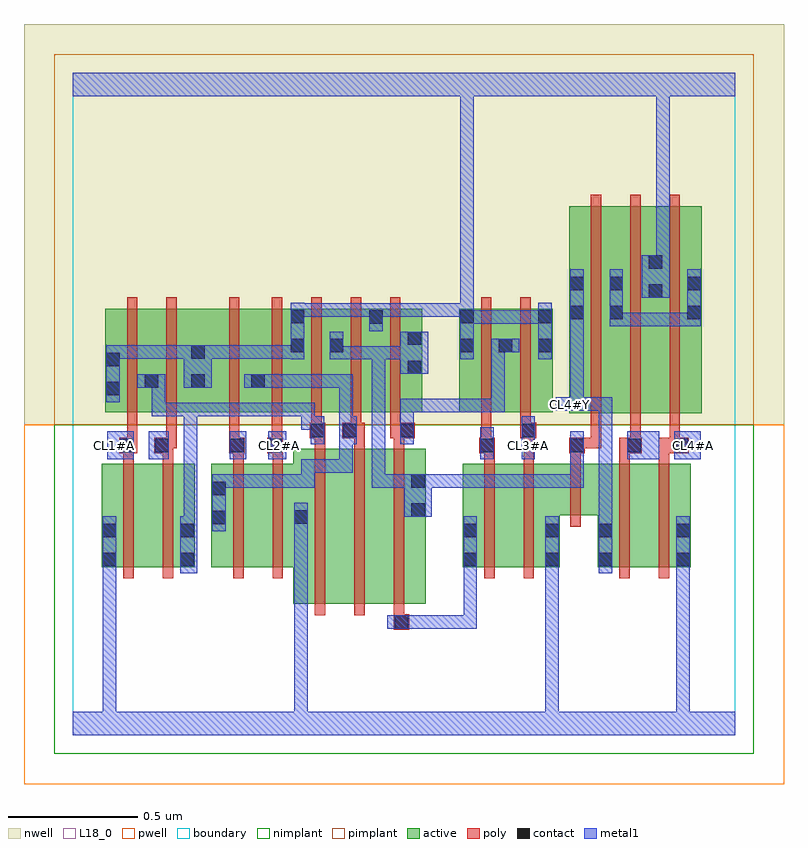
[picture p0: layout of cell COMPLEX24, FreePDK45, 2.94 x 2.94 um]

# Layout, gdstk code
import gdstk
lib = gdstk.Library(unit=1e-6, precision=1e-09)
def R(c, l, rs):  # rectangles x0, y0, x1, y1
    for r in rs: c.add(gdstk.rectangle(r[:2], r[2:], *l))
def A(c, l, x, y, w, h, nx, ny, dx, dy):  # array of equal rectangles
    R(c, l, [(x+i*dx, y+j*dy, x+i*dx+w, y+j*dy+h) for i in range(nx) for j in range(ny)])
active = (1, 0)
pwell = (2, 0)
nwell = (3, 0)
nimplant = (4, 0)
pimplant = (5, 0)
poly = (9, 0)
contact = (10, 0)
metal1 = (11, 0)
L18_0 = (18, 0)
boundary = (235, 0)

complex24 = lib.new_cell('COMPLEX24')
A(complex24, active, 0.686, 1.248, 0.212, 0.4, 3, 1, 0.152, 0)
R(complex24, active, [(0.852,0.508,1.032,1.108), (1.032,0.508,1.184,1.108), (1.184,0.508,1.364,1.108), (1.304,0.556,1.364,1.108), (0.112,0.65,0.172,1.05), (0.112,0.65,0.292,1.05), (0.292,0.65,0.472,1.05), (0.412,0.65,0.472,1.05), (0.536,0.65,0.716,1.05), (0.716,0.65,0.912,1.05), (1.506,0.65,1.566,1.05), (1.506,0.65,1.686,1.05), (1.686,0.65,1.882,1.05), (1.822,0.65,1.882,0.85), (2.028,0.65,2.208,1.05), (2.028,0.65,2.088,0.85), (2.208,0.65,2.388,1.05), (2.328,0.65,2.388,1.05), (0.536,0.756,0.596,1.05), (0.852,0.756,0.912,1.05), (1.822,0.85,2.088,1.05), (1.918,1.244,1.978,2.044), (1.918,1.244,2.13,2.044), (2.07,1.244,2.282,2.044), (2.222,1.244,2.43,2.044), (2.37,1.244,2.43,2.044), (0.126,1.248,0.186,1.644), (0.126,1.248,0.334,1.648), (0.274,1.248,0.334,1.644), (0.274,1.248,0.514,1.648), (0.454,1.248,0.514,1.644), (0.454,1.248,0.746,1.648), (0.686,1.248,0.746,1.644), (0.838,1.248,0.898,1.648), (0.99,1.248,1.05,1.644), (1.142,1.248,1.35,1.648), (1.142,1.248,1.202,1.646), (1.29,1.248,1.35,1.644), (1.494,1.248,1.554,1.648), (1.494,1.248,1.702,1.648), (1.642,1.248,1.854,1.648), (1.642,1.248,1.702,1.644), (1.794,1.248,1.854,1.648), (2.07,1.604,2.13,2.044), (2.222,1.686,2.282,2.044)])
R(complex24, pwell, [(-0.188,-0.188,2.748,1.2)])
R(complex24, nwell, [(-0.188,1.2,2.748,2.748)])
R(complex24, nimplant, [(-0.072,-0.072,2.632,1.2)])
R(complex24, pimplant, [(-0.072,1.2,2.632,2.632)])
A(complex24, poly, 0.936, 0.464, 0.04, 0.688, 3, 1, 0.152, 0)
A(complex24, poly, 2.002, 1.11, 0.04, 0.13, 3, 1, 0.152, 0)
A(complex24, poly, 0.936, 1.112, 0.04, 0.076, 3, 1, 0.152, 0)
A(complex24, poly, 0.922, 1.168, 0.04, 0.076, 3, 1, 0.152, 0)
A(complex24, poly, 2.002, 1.2, 0.04, 0.888, 3, 1, 0.152, 0)
A(complex24, poly, 0.77, 1.204, 0.04, 0.488, 4, 1, 0.152, 0)
R(complex24, poly, [(1.24,0.408,1.3,0.468), (1.24,0.428,1.28,0.504), (0.196,0.606,0.236,1.094), (0.348,0.606,0.388,1.094), (0.62,0.606,0.66,1.094), (0.772,0.606,0.812,1.094), (1.59,0.606,1.63,1.094), (1.742,0.606,1.782,1.094), (2.112,0.606,2.152,1.094), (2.264,0.606,2.304,1.094), (1.922,0.806,1.962,1.094), (0.196,1.054,0.236,1.13), (0.348,1.054,0.388,1.13), (0.62,1.054,0.66,1.13), (0.772,1.054,0.812,1.13), (1.59,1.054,1.63,1.13), (1.742,1.054,1.782,1.188), (1.922,1.054,1.962,1.13), (2.112,1.054,2.152,1.13), (2.264,1.054,2.304,1.13), (0.18,1.09,0.25,1.15), (0.196,1.09,0.236,1.13), (0.196,1.09,0.236,1.13), (0.316,1.09,0.388,1.15), (0.604,1.09,0.664,1.15), (0.752,1.09,0.812,1.15), (1.57,1.09,1.63,1.15), (1.918,1.09,1.978,1.15), (2.112,1.09,2.198,1.15), (2.264,1.09,2.38,1.15), (0.21,1.11,0.25,1.244), (0.348,1.11,0.388,1.15), (0.348,1.11,0.402,1.15), (0.362,1.11,0.402,1.244), (0.604,1.11,0.644,1.15), (0.604,1.11,0.644,1.15), (0.604,1.11,0.644,1.244), (0.77,1.11,0.81,1.15), (0.77,1.11,0.81,1.15), (0.77,1.11,0.81,1.244), (1.578,1.11,1.618,1.15), (1.578,1.11,1.618,1.15), (1.578,1.11,1.618,1.244), (1.938,1.11,1.978,1.15), (1.938,1.11,2.042,1.15), (2.154,1.11,2.194,1.15), (2.154,1.11,2.194,1.15), (2.306,1.11,2.346,1.15), (2.306,1.11,2.346,1.15), (0.916,1.148,0.976,1.208), (0.936,1.148,0.976,1.188), (0.936,1.148,0.976,1.188), (1.042,1.148,1.128,1.208), (1.226,1.148,1.322,1.208), (1.24,1.148,1.28,1.188), (1.24,1.148,1.28,1.188), (1.73,1.148,1.79,1.208), (1.742,1.148,1.782,1.188), (1.742,1.148,1.782,1.188), (1.074,1.168,1.114,1.208), (1.074,1.168,1.114,1.208), (1.73,1.168,1.77,1.244), (0.21,1.204,0.25,1.692), (0.362,1.204,0.402,1.692), (0.604,1.204,0.644,1.692), (1.578,1.204,1.618,1.692), (1.73,1.204,1.77,1.692)])
R(complex24, contact, [(1.244,0.412,1.296,0.464), (0.116,0.654,0.168,0.706), (0.416,0.654,0.468,0.706), (1.51,0.654,1.562,0.706), (1.826,0.654,1.878,0.706), (2.032,0.654,2.084,0.706), (2.332,0.654,2.384,0.706), (0.116,0.766,0.168,0.818), (0.416,0.766,0.468,0.818), (1.51,0.766,1.562,0.818), (1.826,0.766,1.878,0.818), (2.032,0.766,2.084,0.818), (2.332,0.766,2.384,0.818), (0.54,0.816,0.592,0.868), (0.856,0.818,0.908,0.87), (1.308,0.844,1.36,0.896), (0.54,0.928,0.592,0.98), (1.308,0.956,1.36,1.008), (0.184,1.094,0.236,1.146), (0.32,1.094,0.372,1.146), (0.608,1.094,0.66,1.146), (0.756,1.094,0.808,1.146), (1.574,1.094,1.626,1.146), (1.922,1.094,1.974,1.146), (2.142,1.094,2.194,1.146), (2.324,1.094,2.376,1.146), (0.92,1.152,0.972,1.204), (1.046,1.152,1.098,1.204), (1.266,1.152,1.318,1.204), (1.734,1.152,1.786,1.204), (0.13,1.314,0.182,1.366), (0.278,1.342,0.33,1.394), (0.458,1.342,0.51,1.394), (0.69,1.342,0.742,1.394), (1.294,1.396,1.346,1.448), (0.13,1.426,0.182,1.478), (0.458,1.454,0.51,1.506), (0.842,1.48,0.894,1.532), (0.994,1.48,1.046,1.532), (1.498,1.48,1.55,1.532), (1.646,1.48,1.698,1.532), (1.798,1.48,1.85,1.532), (1.294,1.508,1.346,1.56), (1.146,1.59,1.198,1.642), (0.842,1.592,0.894,1.644), (1.498,1.592,1.55,1.644), (1.798,1.592,1.85,1.644), (1.922,1.608,1.974,1.66), (2.074,1.608,2.126,1.66), (2.374,1.608,2.426,1.66), (2.226,1.69,2.278,1.742), (1.922,1.72,1.974,1.772), (2.074,1.72,2.126,1.772), (2.374,1.72,2.426,1.772), (2.226,1.802,2.278,1.854)])
R(complex24, metal1, [(0,0,2.56,0.092), (0.116,0.04,0.168,0.092), (0.116,0.04,0.168,0.092), (0.116,0.04,0.168,0.092), (0.116,0.04,0.168,0.092), (0.116,0.04,0.168,0.092), (0.116,0.04,0.168,0.092), (0.116,0.04,0.168,0.092), (0.116,0.04,0.168,0.092), (0.116,0.04,0.168,0.092), (0.116,0.04,0.168,0.092), (0.116,0.04,0.168,0.678), (0.856,0.04,0.908,0.092), (0.856,0.04,0.908,0.092), (0.856,0.04,0.908,0.092), (0.856,0.04,0.908,0.092), (0.856,0.04,0.908,0.092), (0.856,0.04,0.908,0.092), (0.856,0.04,0.908,0.092), (0.856,0.04,0.908,0.092), (0.856,0.04,0.908,0.842), (1.826,0.04,1.878,0.092), (1.826,0.04,1.878,0.092), (1.826,0.04,1.878,0.678), (2.332,0.04,2.384,0.092), (2.332,0.04,2.384,0.092), (2.332,0.04,2.384,0.092), (2.332,0.04,2.384,0.092), (2.332,0.04,2.384,0.678), (1.216,0.412,1.324,0.464), (1.272,0.412,1.324,0.464), (1.272,0.412,1.324,0.464), (1.272,0.412,1.562,0.464), (1.51,0.412,1.562,0.464), (1.51,0.412,1.562,0.678), (0.116,0.626,0.168,0.678), (0.116,0.626,0.168,0.678), (0.116,0.626,0.168,0.846), (0.416,0.626,0.482,0.846), (1.51,0.626,1.562,0.678), (1.51,0.626,1.562,0.678), (1.51,0.626,1.562,0.678), (1.51,0.626,1.562,0.678), (1.51,0.626,1.562,0.846), (1.826,0.626,1.878,0.678), (1.826,0.626,1.878,0.678), (1.826,0.626,1.878,0.678), (1.826,0.626,1.878,0.678), (1.826,0.626,1.878,0.678), (1.826,0.626,1.878,0.678), (1.826,0.626,1.878,0.678), (1.826,0.626,1.878,0.678), (1.826,0.626,1.878,0.678), (1.826,0.626,1.878,0.678), (1.826,0.626,1.878,0.846), (2.032,0.626,2.084,0.846), (2.332,0.626,2.384,0.678), (2.332,0.626,2.384,0.678), (2.332,0.626,2.384,0.678), (2.332,0.626,2.384,0.678), (2.332,0.626,2.384,0.678), (2.332,0.626,2.384,0.678), (2.332,0.626,2.384,0.678), (2.332,0.626,2.384,0.678), (2.332,0.626,2.384,0.846), (0.54,0.788,0.592,1.008), (0.856,0.79,0.908,0.898), (0.43,0.794,0.482,0.846), (0.43,0.794,0.482,0.846), (0.43,0.794,0.482,1.284), (2.032,0.794,2.084,1.306), (1.28,0.844,1.388,1.008), (0.54,0.956,0.592,1.008), (0.54,0.956,0.592,1.008), (0.54,0.956,0.784,1.008), (0.732,0.956,0.784,1.008), (0.732,0.956,0.808,1.008), (0.756,0.956,0.808,1.008), (0.756,0.956,0.936,1.008), (0.884,0.956,0.936,1.008), (0.884,0.956,0.936,1.066), (1.156,0.956,1.208,1.008), (1.156,0.956,1.208,1.008), (1.156,0.956,1.208,1.008), (1.156,0.956,1.208,1.008), (1.156,0.956,1.208,1.008), (1.156,0.956,1.332,1.008), (1.156,0.956,1.208,1.504), (1.28,0.956,1.332,1.008), (1.28,0.956,1.332,1.008), (1.336,0.956,1.498,1.008), (1.446,0.956,1.498,1.008), (1.446,0.956,1.498,1.008), (1.446,0.956,1.498,1.008), (1.446,0.956,1.736,1.008), (1.684,0.956,1.736,1.008), (1.684,0.956,1.736,1.008), (1.684,0.956,1.736,1.008), (1.684,0.956,1.808,1.008), (1.756,0.956,1.808,1.008), (1.756,0.956,1.846,1.008), (1.794,0.956,1.846,1.008), (1.794,0.956,1.974,1.008), (1.922,0.956,1.974,1.118), (0.884,1.014,0.936,1.066), (0.884,1.014,0.936,1.066), (0.884,1.014,0.936,1.066), (0.884,1.014,1.082,1.066), (1.03,1.014,1.082,1.176), (0.134,1.066,0.236,1.174), (0.294,1.066,0.372,1.174), (0.606,1.066,0.67,1.174), (0.756,1.066,0.826,1.174), (1.574,1.066,1.626,1.19), (1.734,1.066,1.786,1.232), (1.922,1.066,1.974,1.118), (1.922,1.066,1.974,1.174), (2.142,1.066,2.266,1.174), (2.324,1.066,2.426,1.174), (0.92,1.124,0.972,1.232), (1.03,1.124,1.098,1.176), (1.03,1.124,1.082,1.394), (1.046,1.124,1.098,1.232), (1.266,1.124,1.318,1.232), (0.884,1.18,0.972,1.232), (0.884,1.18,0.936,1.284), (1.266,1.18,1.318,1.232), (1.266,1.18,1.318,1.3), (0.306,1.232,0.358,1.284), (0.306,1.232,0.358,1.284), (0.306,1.232,0.358,1.284), (0.306,1.232,0.358,1.394), (0.306,1.232,0.482,1.284), (0.43,1.232,0.482,1.284), (0.43,1.232,0.482,1.284), (0.43,1.232,0.482,1.284), (0.43,1.232,0.698,1.284), (0.646,1.232,0.698,1.284), (0.646,1.232,0.698,1.284), (0.646,1.232,0.698,1.284), (0.646,1.232,0.808,1.284), (0.756,1.232,0.808,1.284), (0.756,1.232,0.936,1.284), (1.266,1.248,1.516,1.3), (1.464,1.248,1.516,1.3), (1.464,1.248,1.516,1.3), (1.464,1.248,1.516,1.3), (1.464,1.248,1.67,1.3), (1.618,1.248,1.67,1.3), (1.618,1.248,1.67,1.532), (1.866,1.254,1.974,1.306), (1.922,1.254,2.084,1.306), (1.922,1.254,1.974,1.632), (2.032,1.254,2.084,1.306), (2.032,1.254,2.084,1.306), (2.032,1.254,2.084,1.306), (2.032,1.254,2.084,1.306), (2.032,1.254,2.084,1.306), (0.13,1.286,0.182,1.506), (0.25,1.342,0.358,1.394), (0.43,1.342,0.538,1.506), (0.662,1.342,0.77,1.394), (0.718,1.342,0.808,1.394), (0.756,1.342,0.808,1.394), (0.756,1.342,0.936,1.394), (0.884,1.342,0.936,1.394), (0.884,1.342,0.936,1.394), (0.884,1.342,0.936,1.394), (0.884,1.342,1.082,1.394), (1.03,1.342,1.082,1.394), (1.03,1.342,1.082,1.394), (1.03,1.342,1.082,1.394), (1.266,1.396,1.374,1.56), (0.842,1.452,0.894,1.672), (0.994,1.452,1.046,1.56), (0.994,1.452,1.158,1.504), (1.106,1.452,1.158,1.504), (1.106,1.452,1.208,1.504), (1.156,1.452,1.208,1.504), (1.156,1.452,1.208,1.504), (1.156,1.452,1.208,1.504), (1.156,1.452,1.318,1.504), (1.266,1.452,1.318,1.504), (1.266,1.452,1.318,1.504), (1.498,1.452,1.55,1.672), (1.798,1.452,1.85,1.672), (0.13,1.454,0.182,1.506), (0.13,1.454,0.182,1.506), (0.13,1.454,0.346,1.506), (0.294,1.454,0.346,1.506), (0.294,1.454,0.346,1.506), (0.294,1.454,0.346,1.506), (0.294,1.454,0.482,1.506), (0.43,1.454,0.482,1.506), (0.43,1.454,0.482,1.506), (0.486,1.454,0.698,1.506), (0.646,1.454,0.698,1.506), (0.646,1.454,0.784,1.506), (0.732,1.454,0.784,1.506), (0.732,1.454,0.808,1.506), (0.756,1.454,0.808,1.506), (0.756,1.454,0.894,1.506), (1.618,1.48,1.726,1.532), (1.146,1.562,1.198,1.67), (1.922,1.58,1.974,1.8), (2.074,1.58,2.126,1.8), (2.074,1.58,2.236,1.632), (2.184,1.58,2.236,1.632), (2.184,1.58,2.236,1.632), (2.184,1.58,2.236,1.632), (2.184,1.58,2.426,1.632), (2.374,1.58,2.426,1.632), (2.374,1.58,2.426,1.632), (2.374,1.58,2.426,1.8), (1.498,1.59,1.55,1.642), (1.498,1.59,1.55,1.642), (1.498,1.59,1.736,1.642), (1.684,1.59,1.736,1.642), (1.684,1.59,1.736,1.642), (1.684,1.59,1.736,1.642), (1.684,1.59,1.85,1.642), (0.842,1.618,0.978,1.67), (0.926,1.618,0.978,1.67), (0.926,1.618,1.088,1.67), (1.036,1.618,1.088,1.67), (1.036,1.618,1.088,1.67), (1.036,1.618,1.088,1.67), (1.036,1.618,1.198,1.67), (1.146,1.618,1.318,1.67), (1.266,1.618,1.318,1.67), (1.266,1.618,1.318,1.67), (1.266,1.618,1.318,1.67), (1.266,1.618,1.55,1.67), (1.498,1.62,1.55,2.52), (2.198,1.69,2.306,1.854), (2.254,1.802,2.306,1.854), (2.254,1.802,2.306,1.854), (2.254,1.802,2.306,1.854), (2.254,1.802,2.306,1.854), (2.254,1.802,2.306,1.854), (2.254,1.802,2.306,1.854), (2.254,1.802,2.306,1.854), (2.254,1.802,2.306,1.854), (2.254,1.802,2.306,2.52), (0,2.468,2.56,2.56), (1.498,2.468,1.55,2.52), (1.498,2.468,1.55,2.52), (1.498,2.468,1.55,2.52), (1.498,2.468,1.55,2.52), (1.498,2.468,1.55,2.52), (1.498,2.468,1.55,2.52), (1.498,2.468,1.55,2.52), (1.498,2.468,1.55,2.52), (1.498,2.468,1.55,2.52), (1.498,2.468,1.55,2.52), (1.498,2.468,1.55,2.52), (1.498,2.468,1.55,2.52), (1.498,2.468,1.55,2.52), (1.498,2.468,1.55,2.52), (1.498,2.468,1.55,2.52), (1.498,2.468,1.55,2.52)])
R(complex24, L18_0, [(0,0,2.56,0.092), (0.116,0.04,0.168,0.092), (0.116,0.04,0.168,0.092), (0.116,0.04,0.168,0.092), (0.116,0.04,0.168,0.092), (0.116,0.04,0.168,0.092), (0.116,0.04,0.168,0.092), (0.116,0.04,0.168,0.092), (0.116,0.04,0.168,0.092), (0.116,0.04,0.168,0.092), (0.116,0.04,0.168,0.092), (0.116,0.04,0.168,0.678), (0.856,0.04,0.908,0.092), (0.856,0.04,0.908,0.092), (0.856,0.04,0.908,0.092), (0.856,0.04,0.908,0.092), (0.856,0.04,0.908,0.092), (0.856,0.04,0.908,0.092), (0.856,0.04,0.908,0.092), (0.856,0.04,0.908,0.092), (0.856,0.04,0.908,0.842), (1.826,0.04,1.878,0.092), (1.826,0.04,1.878,0.092), (1.826,0.04,1.878,0.678), (2.332,0.04,2.384,0.092), (2.332,0.04,2.384,0.092), (2.332,0.04,2.384,0.092), (2.332,0.04,2.384,0.092), (2.332,0.04,2.384,0.678), (0.116,0.626,0.168,0.678), (0.116,0.626,0.168,0.678), (0.116,0.626,0.168,0.846), (1.826,0.626,1.878,0.678), (1.826,0.626,1.878,0.678), (1.826,0.626,1.878,0.678), (1.826,0.626,1.878,0.678), (1.826,0.626,1.878,0.678), (1.826,0.626,1.878,0.678), (1.826,0.626,1.878,0.678), (1.826,0.626,1.878,0.678), (1.826,0.626,1.878,0.678), (1.826,0.626,1.878,0.678), (1.826,0.626,1.878,0.846), (2.032,0.626,2.084,0.846), (2.332,0.626,2.384,0.678), (2.332,0.626,2.384,0.678), (2.332,0.626,2.384,0.678), (2.332,0.626,2.384,0.678), (2.332,0.626,2.384,0.678), (2.332,0.626,2.384,0.678), (2.332,0.626,2.384,0.678), (2.332,0.626,2.384,0.678), (2.332,0.626,2.384,0.846), (0.856,0.79,0.908,0.898), (2.032,0.794,2.084,1.306), (0.134,1.066,0.236,1.174), (0.294,1.066,0.372,1.174), (0.606,1.066,0.67,1.174), (0.756,1.066,0.826,1.174), (1.574,1.066,1.626,1.19), (1.734,1.066,1.786,1.232), (2.142,1.066,2.266,1.174), (2.324,1.066,2.426,1.174), (0.134,1.094,0.186,1.146), (0.294,1.094,0.346,1.146), (0.614,1.094,0.666,1.146), (0.774,1.094,0.826,1.146), (1.574,1.094,1.626,1.146), (1.734,1.094,1.786,1.146), (2.214,1.094,2.266,1.146), (2.374,1.094,2.426,1.146), (1.866,1.254,1.974,1.306), (1.894,1.254,1.946,1.306), (1.922,1.254,2.084,1.306), (1.922,1.254,1.974,1.632), (2.032,1.254,2.084,1.306), (2.032,1.254,2.084,1.306), (2.032,1.254,2.084,1.306), (2.032,1.254,2.084,1.306), (2.032,1.254,2.084,1.306), (0.13,1.286,0.182,1.506), (0.43,1.342,0.538,1.506), (0.842,1.452,0.894,1.672), (1.498,1.452,1.55,1.672), (1.798,1.452,1.85,1.672), (0.13,1.454,0.182,1.506), (0.13,1.454,0.182,1.506), (0.13,1.454,0.346,1.506), (0.294,1.454,0.346,1.506), (0.294,1.454,0.346,1.506), (0.294,1.454,0.346,1.506), (0.294,1.454,0.482,1.506), (0.43,1.454,0.482,1.506), (0.43,1.454,0.482,1.506), (0.486,1.454,0.698,1.506), (0.646,1.454,0.698,1.506), (0.646,1.454,0.784,1.506), (0.732,1.454,0.784,1.506), (0.732,1.454,0.808,1.506), (0.756,1.454,0.808,1.506), (0.756,1.454,0.894,1.506), (1.146,1.562,1.198,1.67), (1.922,1.58,1.974,1.8), (1.498,1.59,1.55,1.642), (1.498,1.59,1.55,1.642), (1.498,1.59,1.736,1.642), (1.684,1.59,1.736,1.642), (1.684,1.59,1.736,1.642), (1.684,1.59,1.736,1.642), (1.684,1.59,1.85,1.642), (0.842,1.618,0.978,1.67), (0.926,1.618,0.978,1.67), (0.926,1.618,1.088,1.67), (1.036,1.618,1.088,1.67), (1.036,1.618,1.088,1.67), (1.036,1.618,1.088,1.67), (1.036,1.618,1.198,1.67), (1.146,1.618,1.318,1.67), (1.266,1.618,1.318,1.67), (1.266,1.618,1.318,1.67), (1.266,1.618,1.318,1.67), (1.266,1.618,1.55,1.67), (1.498,1.62,1.55,2.52), (2.198,1.69,2.306,1.854), (2.254,1.802,2.306,1.854), (2.254,1.802,2.306,1.854), (2.254,1.802,2.306,1.854), (2.254,1.802,2.306,1.854), (2.254,1.802,2.306,1.854), (2.254,1.802,2.306,1.854), (2.254,1.802,2.306,1.854), (2.254,1.802,2.306,1.854), (2.254,1.802,2.306,2.52), (0,2.468,2.56,2.56), (1.498,2.468,1.55,2.52), (1.498,2.468,1.55,2.52), (1.498,2.468,1.55,2.52), (1.498,2.468,1.55,2.52), (1.498,2.468,1.55,2.52), (1.498,2.468,1.55,2.52), (1.498,2.468,1.55,2.52), (1.498,2.468,1.55,2.52), (1.498,2.468,1.55,2.52), (1.498,2.468,1.55,2.52), (1.498,2.468,1.55,2.52), (1.498,2.468,1.55,2.52), (1.498,2.468,1.55,2.52), (1.498,2.468,1.55,2.52), (1.498,2.468,1.55,2.52), (1.498,2.468,1.55,2.52)])
R(complex24, boundary, [(0,0,2.56,2.56)])
complex24.add(gdstk.Label('CL1#A', (0.16,1.12), layer=11, texttype=0))
complex24.add(gdstk.Label('CL1#B', (0.32,1.12), layer=11, texttype=0))
complex24.add(gdstk.Label('CL2#A', (0.8,1.12), layer=11, texttype=0))
complex24.add(gdstk.Label('CL2#B', (0.64,1.12), layer=11, texttype=0))
complex24.add(gdstk.Label('CL3#A', (1.76,1.12), layer=11, texttype=0))
complex24.add(gdstk.Label('CL3#B', (1.6,1.12), layer=11, texttype=0))
complex24.add(gdstk.Label('CL4#A', (2.4,1.12), layer=11, texttype=0))
complex24.add(gdstk.Label('CL4#B', (2.24,1.12), layer=11, texttype=0))
complex24.add(gdstk.Label('CL4#Y', (1.92,1.28), layer=11, texttype=0))

lib.write_gds('COMPLEX24.gds')
